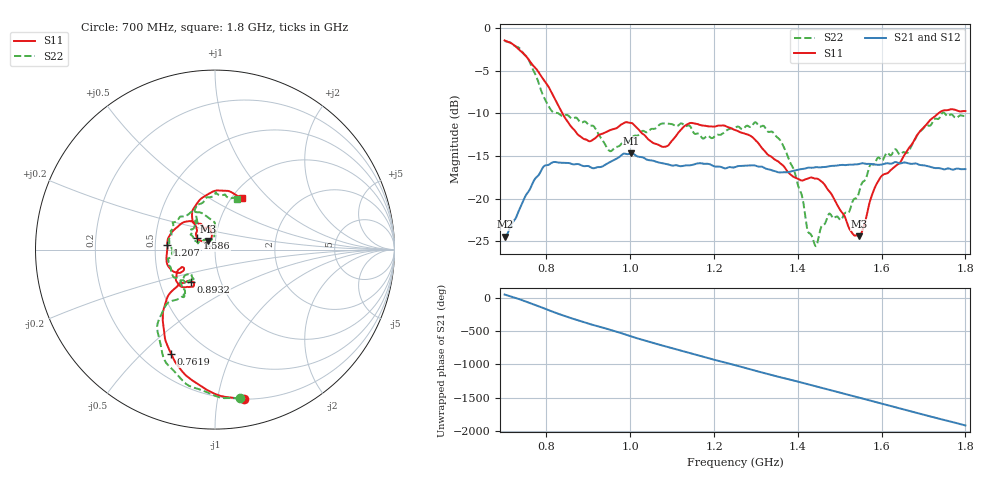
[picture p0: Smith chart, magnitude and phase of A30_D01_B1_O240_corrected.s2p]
! Created with skrf 1.9.0 (http://scikit-rf.org).
# Hz S RI R 50.0
!freq ReS11 ImS11 ReS21 ImS21 ReS12 ImS12 ReS22 ImS22
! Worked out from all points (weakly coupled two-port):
!   1601 points, 700 MHz to 1.8 GHz, reference 50 ohm
!   highest |S21| = -14.67 dB at 1.002 GHz (marker M1); lowest = -24.4 dB at 700.7 MHz (marker M2)
!   lowest |S11| = -24.4 dB at 1.547 GHz (marker M3), VSWR 1.13, Z = 46.2 + j4.43 ohm
!   |S11| at or under -10 dB: 838.2 MHz to 1.735 GHz (897 MHz wide, 69.7 % of centre)
!   |S22| runs from -25.6 to -1.5 dB; largest |S21 - S12| = 0.0037
!   S11 on the Smith chart (normalised r, x): 700 MHz: 0.20, -1.19; 761.9 MHz: 0.32, -0.62; 893.2 MHz: 0.72, -0.27; 1.207 GHz: 0.58, +0.03; 1.586 GHz: 0.81, +0.11; 1.8 GHz: 1.12, +0.72
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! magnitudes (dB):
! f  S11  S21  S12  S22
! 700 MHz  -1.4  -24.4  -24.2  -1.5
! 700.7 MHz  -1.5  -24.4  -24.1  -1.5
! 761.9 MHz  -4.0  -18.7  -18.7  -4.2
! 812.1 MHz  -7.5  -15.8  -15.8  -9.7
! 883.6 MHz  -12.8  -16.1  -16.0  -11.1
! 893.2 MHz  -13.0  -16.2  -16.2  -11.0
! 951.6 MHz  -12.0  -15.7  -15.7  -14.4
! 1.002 GHz  -11.1  -14.7  -14.8  -13.0
! 1.067 GHz  -13.7  -15.7  -15.7  -11.4
! 1.141 GHz  -11.1  -16.1  -16.0  -11.4
! 1.207 GHz  -11.5  -16.2  -16.3  -12.5
! 1.25 GHz  -11.9  -16.3  -16.2  -11.7
! 1.358 GHz  -15.8  -16.9  -16.9  -13.1
! 1.392 GHz  -17.5  -16.7  -16.7  -16.7
! 1.434 GHz  -17.5  -16.4  -16.3  -24.4
! 1.444 GHz  -17.6  -16.3  -16.3  -25.5
! 1.547 GHz  -24.4  -15.9  -15.9  -19.1
! 1.586 GHz  -18.4  -16.0  -16.0  -15.6
! 1.617 GHz  -16.9  -15.9  -15.8  -14.8
! 1.662 GHz  -14.3  -15.8  -15.9  -14.6
! 1.736 GHz  -10.0  -16.4  -16.5  -10.6
! 1.8 GHz  -9.7  -16.5  -16.5  -10.3
